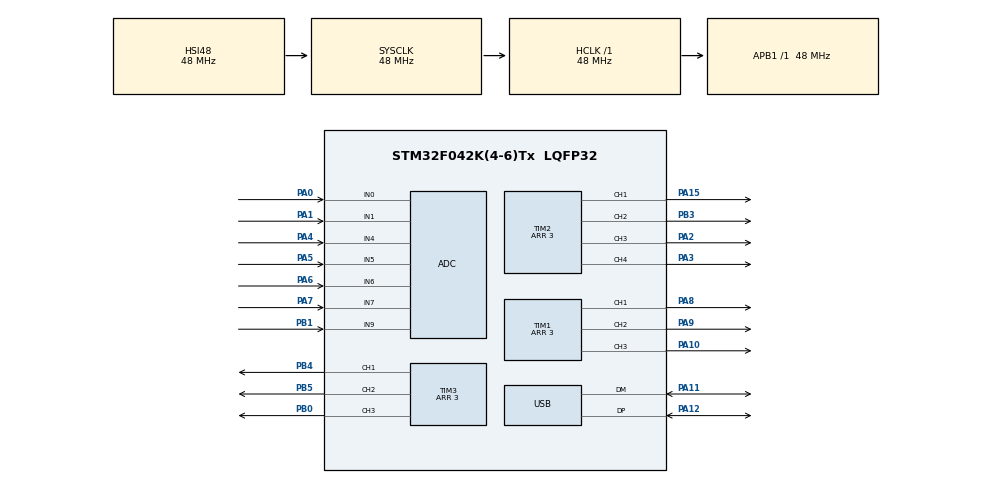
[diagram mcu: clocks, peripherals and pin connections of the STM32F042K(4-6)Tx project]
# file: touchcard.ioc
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Mcu.Family=STM32F0
Mcu.Name=STM32F042K(4-6)Tx
Mcu.Package=LQFP32
NVIC.USB_IRQn=true\:0\:0\:false\:false\:true\:false\:true\:true
PA0.Mode=IN0
PA0.Signal=ADC_IN0
PA1.Mode=IN1
PA1.Signal=ADC_IN1
PA10.Signal=S_TIM1_CH3
PA11.Mode=Device
PA11.Signal=USB_DM
PA12.Mode=Device
PA12.Signal=USB_DP
PA13.Mode=Serial_Wire
PA13.Signal=SYS_SWDIO
PA14.Mode=Serial_Wire
PA14.Signal=SYS_SWCLK
PA15.Signal=S_TIM2_CH1_ETR
PA2.Signal=S_TIM2_CH3
PA3.Signal=S_TIM2_CH4
PA4.Mode=IN4
PA4.Signal=ADC_IN4
PA5.Mode=IN5
PA5.Signal=ADC_IN5
PA6.Mode=IN6
PA6.Signal=ADC_IN6
PA7.Mode=IN7
PA7.Signal=ADC_IN7
PA8.Signal=S_TIM1_CH1
PA9.Signal=S_TIM1_CH2
PB0.Signal=S_TIM3_CH3
PB1.Mode=IN9
PB1.Signal=ADC_IN9
PB3.Signal=S_TIM2_CH2
PB4.Signal=S_TIM3_CH1
PB5.Signal=S_TIM3_CH2
ProjectManager.HeapSize=0x200
ProjectManager.StackSize=0x400
ProjectManager.TargetToolchain=Other Toolchains (GPDSC)
RCC.AHBFreq_Value=48000000
RCC.APB1Freq_Value=48000000
RCC.APB1TimFreq_Value=48000000
RCC.HCLKFreq_Value=48000000
RCC.SYSCLKFreq_VALUE=48000000
RCC.SYSCLKSource=RCC_SYSCLKSOURCE_HSI48
SH.S_TIM1_CH1.0=TIM1_CH1,PWM Generation1 CH1
SH.S_TIM1_CH2.0=TIM1_CH2,PWM Generation2 CH2
SH.S_TIM1_CH3.0=TIM1_CH3,PWM Generation3 CH3
SH.S_TIM2_CH1_ETR.0=TIM2_CH1,PWM Generation1 CH1
SH.S_TIM2_CH2.0=TIM2_CH2,PWM Generation2 CH2
SH.S_TIM2_CH3.0=TIM2_CH3,PWM Generation3 CH3
SH.S_TIM2_CH4.0=TIM2_CH4,PWM Generation4 CH4
SH.S_TIM3_CH1.0=TIM3_CH1,PWM Generation1 CH1
SH.S_TIM3_CH2.0=TIM3_CH2,PWM Generation2 CH2
SH.S_TIM3_CH3.0=TIM3_CH3,PWM Generation3 CH3
TIM1.Channel-PWM\ Generation1\ CH1=TIM_CHANNEL_1
TIM1.Channel-PWM\ Generation2\ CH2=TIM_CHANNEL_2
TIM1.Channel-PWM\ Generation3\ CH3=TIM_CHANNEL_3
TIM1.Period=3
TIM14.Prescaler=48
TIM2.Channel-PWM\ Generation1\ CH1=TIM_CHANNEL_1
TIM2.Channel-PWM\ Generation2\ CH2=TIM_CHANNEL_2
TIM2.Channel-PWM\ Generation3\ CH3=TIM_CHANNEL_3
TIM2.Channel-PWM\ Generation4\ CH4=TIM_CHANNEL_4
TIM2.Period=3
TIM3.Channel-PWM\ Generation1\ CH1=TIM_CHANNEL_1
TIM3.Channel-PWM\ Generation2\ CH2=TIM_CHANNEL_2
TIM3.Channel-PWM\ Generation3\ CH3=TIM_CHANNEL_3
TIM3.Period=3
USB_DEVICE.CLASS_NAME_FS=CDC
USB_DEVICE.VirtualMode=Cdc
USB_DEVICE.VirtualModeFS=Cdc_FS
VP_RCC_USB.Mode=CRS SYNC Source USB
VP_TIM14_VS_ClockSourceINT.Mode=Enable_Timer
VP_TIM1_VS_ClockSourceINT.Mode=Internal
VP_TIM2_VS_ClockSourceINT.Mode=Internal
VP_TIM3_VS_ClockSourceINT.Mode=Internal
VP_USB_DEVICE_VS_USB_DEVICE_CDC_FS.Mode=CDC_FS
board=custom

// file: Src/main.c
/* USER CODE BEGIN Header */
/**
 ******************************************************************************
 * @file           : main.c
 * @brief          : Main program body
 ******************************************************************************
 * @attention
 *
 * Copyright (c) 2023 STMicroelectronics.
 * All rights reserved.
 *
 * This software is licensed under terms that can be found in the LICENSE file
 * in the root directory of this software component.
 * If no LICENSE file comes with this software, it is provided AS-IS.
 *
 ******************************************************************************
 */
/* USER CODE END Header */
#include "main.h"
#include "adc.h"
#include "tim.h"
#include "usb_device.h"
#include "gpio.h"

/* USER CODE BEGIN PV */

uint16_t values[10][7], raw[10][7], cal[10][7];
char out_buf[100];

/* USER CODE END PV */

void SystemClock_Config(void);
/* USER CODE BEGIN PFP */

void timer_init(void);
void delay_us(uint16_t us);
void ADC_Select(uint8_t ch);
void init_calibration(void);
void Scan_Pad(void);
void Scan_ADC(uint8_t col);

/* USER CODE END PFP */

int main(void)
{

  /* MCU Configuration--------------------------------------------------------*/

  /* Reset of all peripherals, Initializes the Flash interface and the Systick. */
  HAL_Init();

  /* Configure the system clock */
  SystemClock_Config();

  /* Initialize all configured peripherals */
  MX_GPIO_Init();
  MX_ADC_Init();
  MX_TIM1_Init();
  MX_TIM2_Init();
  MX_TIM3_Init();
  MX_USB_DEVICE_Init();
  MX_TIM14_Init();
  /* USER CODE BEGIN 2 */

  timer_init();
  while (HAL_ADCEx_Calibration_Start(&hadc) != HAL_OK)
    ;

  /**
   * Timer Overview:
   *
   * Timer 1:
   *  - Channel 1
   *  - Channel 2
   *  - Channel 3
   * Timer 2:
   *  - Channel 1
   *  - Channel 2
   *  - Channel 3
   *  - Channel 4
   * Timer 3:
   *  - Channel 1
   *  - Channel 2
   *  - Channel 3
   * totals 10 channels
   *
   * ADC Channels:
   *  0, 1, 4, 5, 6, 7, 9
   * totals 7 channels
   *
   */

  init_calibration();

  /* USER CODE END 2 */

  /* Infinite loop */
  /* USER CODE BEGIN WHILE */
  while (1)
  {

/*
    HAL_TIM_PWM_Start(&htim2, TIM_CHANNEL_1);

    ADC_Select(0);
    uint32_t temp;
    // calculate median of 5 to reduce noise
    for (uint8_t i = 0; i < 5; i++)
    {
      HAL_ADC_Start(&hadc);
      while(HAL_ADC_PollForConversion(&hadc, HAL_MAX_DELAY));
      temp += HAL_ADC_GetValue(&hadc);
      delay_us(5);
    }
    raw[0][0] = temp / 5;
    temp = 0;
    sprintf(out_buf, "%d\n", raw[0][0]);
    CDC_Transmit_FS((uint8_t *)out_buf, strlen(out_buf));
    HAL_Delay(250);*/

    Scan_Pad();

    int32_t temp;
    for (uint8_t i = 0; i < 10; i++)
    {
      for (uint8_t j = 0; j < 7; j++)
      {
        temp = (int16_t)raw[i][j] - (int16_t)cal[i][j];
        if (temp < 0)
          temp = 0;
        values[i][j] = /*raw[i][j];*/ (uint16_t)temp;
      }
    }

    for (uint8_t i = 0; i < 7; i++)
    {
      sprintf(out_buf, "%3d:%3d,%3d,%3d,%3d,%3d,%3d,%3d,%3d,%3d,%3d\n", i,
              values[0][i],
              values[1][i],
              values[2][i],
              values[3][i],
              values[4][i],
              values[5][i],
              values[6][i],
              values[7][i],
              values[8][i],
              values[9][i]);
      CDC_Transmit_FS((uint8_t *)out_buf, strlen(out_buf));
    }

    HAL_Delay(1000);

    /* USER CODE END WHILE */

  }
}

void SystemClock_Config(void)
{
  RCC_OscInitTypeDef RCC_OscInitStruct = {0};
  RCC_ClkInitTypeDef RCC_ClkInitStruct = {0};
  RCC_PeriphCLKInitTypeDef PeriphClkInit = {0};
  RCC_CRSInitTypeDef RCC_CRSInitStruct = {0};

  /** Initializes the RCC Oscillators according to the specified parameters
   * in the RCC_OscInitTypeDef structure.
   */
  RCC_OscInitStruct.OscillatorType = RCC_OSCILLATORTYPE_HSI14 | RCC_OSCILLATORTYPE_HSI48;
  RCC_OscInitStruct.HSI48State = RCC_HSI48_ON;
  RCC_OscInitStruct.HSI14State = RCC_HSI14_ON;
  RCC_OscInitStruct.HSI14CalibrationValue = 16;
  RCC_OscInitStruct.PLL.PLLState = RCC_PLL_NONE;
  if (HAL_RCC_OscConfig(&RCC_OscInitStruct) != HAL_OK)
  {
    Error_Handler();
  }

  /** Initializes the CPU, AHB and APB buses clocks
   */
  RCC_ClkInitStruct.ClockType = RCC_CLOCKTYPE_HCLK | RCC_CLOCKTYPE_SYSCLK | RCC_CLOCKTYPE_PCLK1;
  RCC_ClkInitStruct.SYSCLKSource = RCC_SYSCLKSOURCE_HSI48;
  RCC_ClkInitStruct.AHBCLKDivider = RCC_SYSCLK_DIV1;
  RCC_ClkInitStruct.APB1CLKDivider = RCC_HCLK_DIV1;

  if (HAL_RCC_ClockConfig(&RCC_ClkInitStruct, FLASH_LATENCY_1) != HAL_OK)
  {
    Error_Handler();
  }
  PeriphClkInit.PeriphClockSelection = RCC_PERIPHCLK_USB;
  PeriphClkInit.UsbClockSelection = RCC_USBCLKSOURCE_HSI48;

  if (HAL_RCCEx_PeriphCLKConfig(&PeriphClkInit) != HAL_OK)
  {
    Error_Handler();
  }

  /** Enable the SYSCFG APB clock
   */
  __HAL_RCC_CRS_CLK_ENABLE();

  /** Configures CRS
   */
  RCC_CRSInitStruct.Prescaler = RCC_CRS_SYNC_DIV1;
  RCC_CRSInitStruct.Source = RCC_CRS_SYNC_SOURCE_USB;
  RCC_CRSInitStruct.Polarity = RCC_CRS_SYNC_POLARITY_RISING;
  RCC_CRSInitStruct.ReloadValue = __HAL_RCC_CRS_RELOADVALUE_CALCULATE(48000000, 1000);
  RCC_CRSInitStruct.ErrorLimitValue = 34;
  RCC_CRSInitStruct.HSI48CalibrationValue = 32;

  HAL_RCCEx_CRSConfig(&RCC_CRSInitStruct);
}

/* USER CODE BEGIN 4 */

void init_calibration(void)
{
  Scan_Pad();

  for (uint8_t i = 0; i < 10; i++)
  {
    for (uint8_t j = 0; j < 7; j++)
    {
      cal[i][j] = raw[i][j];
    }
  }
}

void timer_init(void)
{
  HAL_TIM_Base_Start(&htim14);
  HAL_TIM_Base_Start(&htim1);
  HAL_TIM_Base_Start(&htim2);
  HAL_TIM_Base_Start(&htim3);

  // presets for PWM ratio if 25%
  TIM1->CCR1 = 2;
  TIM1->CCR2 = 2;
  TIM1->CCR3 = 2;
  TIM2->CCR1 = 2;
  TIM2->CCR2 = 2;
  TIM2->CCR3 = 2;
  TIM2->CCR4 = 2;
  TIM3->CCR1 = 2;
  TIM3->CCR2 = 2;
  TIM3->CCR3 = 2;
}

void delay_us(uint16_t us)
{
  __HAL_TIM_SET_COUNTER(&htim14, 0); // set counter to zero
  while (__HAL_TIM_GET_COUNTER(&htim14) < us)
    ; // wait for counter to reach us input
}

void Scan_ADC(uint8_t col)
{
  uint32_t temp;
  // iterate through al ADC channels
  for (uint8_t j = 0; j < 7; j++)
  {
    ADC_Select(j);
    // calculate median of 5 to reduce noise
    for (uint8_t i = 0; i < 5; i++)
    {
      HAL_ADC_Start(&hadc);
      while(HAL_ADC_PollForConversion(&hadc, HAL_MAX_DELAY));
      temp += HAL_ADC_GetValue(&hadc);
      delay_us(5);
    }
    raw[col][j] = temp / 5;
    temp = 0;
  }
}

void Scan_Pad(void)
{
  HAL_TIM_PWM_Start(&htim1, TIM_CHANNEL_1);
  delay_us(20);
  Scan_ADC(0);
  HAL_TIM_PWM_Stop(&htim1, TIM_CHANNEL_1);

  HAL_TIM_PWM_Start(&htim1, TIM_CHANNEL_2);
  delay_us(20);
  Scan_ADC(1);
  HAL_TIM_PWM_Stop(&htim1, TIM_CHANNEL_2);

  HAL_TIM_PWM_Start(&htim1, TIM_CHANNEL_3);
  delay_us(20);
  Scan_ADC(2);
  HAL_TIM_PWM_Stop(&htim1, TIM_CHANNEL_3);

  HAL_TIM_PWM_Start(&htim2, TIM_CHANNEL_1);
  delay_us(20);
  Scan_ADC(3);
  HAL_TIM_PWM_Stop(&htim2, TIM_CHANNEL_1);

  HAL_TIM_PWM_Start(&htim2, TIM_CHANNEL_2);
  delay_us(20);
  Scan_ADC(4);
  HAL_TIM_PWM_Stop(&htim2, TIM_CHANNEL_2);

  HAL_TIM_PWM_Start(&htim2, TIM_CHANNEL_3);
  delay_us(20);
  Scan_ADC(5);
  HAL_TIM_PWM_Stop(&htim2, TIM_CHANNEL_3);

  HAL_TIM_PWM_Start(&htim2, TIM_CHANNEL_4);
  delay_us(20);
  Scan_ADC(6);
  HAL_TIM_PWM_Stop(&htim2, TIM_CHANNEL_4);

  HAL_TIM_PWM_Start(&htim3, TIM_CHANNEL_1);
  delay_us(20);
  Scan_ADC(7);
  HAL_TIM_PWM_Stop(&htim3, TIM_CHANNEL_1);

  HAL_TIM_PWM_Start(&htim3, TIM_CHANNEL_2);
  delay_us(20);
  Scan_ADC(8);
  HAL_TIM_PWM_Stop(&htim3, TIM_CHANNEL_2);

  HAL_TIM_PWM_Start(&htim3, TIM_CHANNEL_3);
  delay_us(20);
  Scan_ADC(9);
  HAL_TIM_PWM_Stop(&htim3, TIM_CHANNEL_3);
}

void ADC_Select(uint8_t ch)
{
  ADC_ChannelConfTypeDef sConfig = {0};
  /** Configure for the selected ADC regular channel its corresponding rank in the sequencer and its sample time.
   */
  switch (ch)
  {
  case 0:
    sConfig.Channel = ADC_CHANNEL_0;
    break;
  case 1:
    sConfig.Channel = ADC_CHANNEL_1;
    break;
  case 2:
    sConfig.Channel = ADC_CHANNEL_4;
    break;
  case 3:
    sConfig.Channel = ADC_CHANNEL_5;
    break;
  case 4:
    sConfig.Channel = ADC_CHANNEL_6;
    break;
  case 5:
    sConfig.Channel = ADC_CHANNEL_7;
    break;
  case 6:
    sConfig.Channel = ADC_CHANNEL_9;
    break;

  default:
    Error_Handler();
    break;
  }

  sConfig.Rank = 1;
  sConfig.SamplingTime = ADC_SAMPLETIME_1CYCLE_5;
  if (HAL_ADC_ConfigChannel(&hadc, &sConfig) != HAL_OK)
  {
    Error_Handler();
  }
}

/* USER CODE END 4 */

void Error_Handler(void)
{
  __disable_irq();
  while (1)
  {
  }
}
